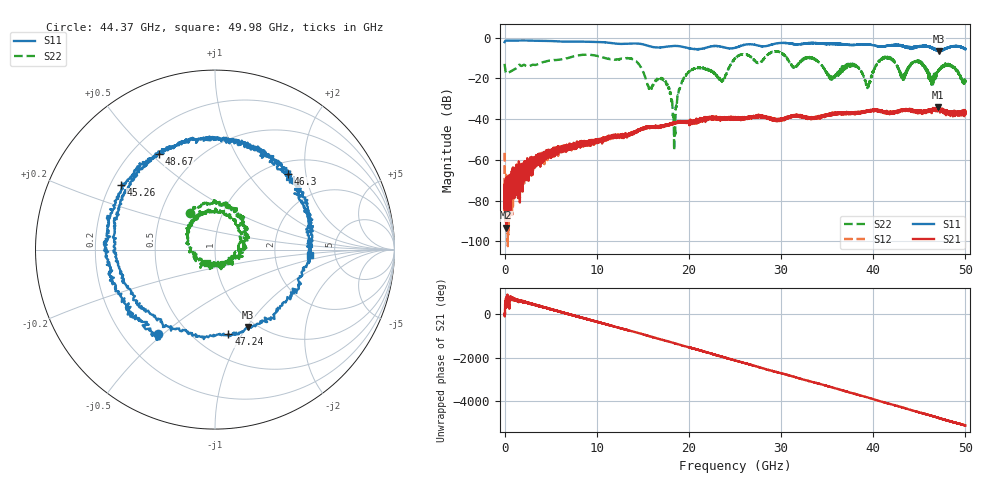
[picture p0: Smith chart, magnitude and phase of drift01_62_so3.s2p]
!Created with skrf (http://scikit-rf.org).
# Hz S RI R 50.0
!freq ReS11 ImS11 ReS21 ImS21 ReS12 ImS12 ReS22 ImS22
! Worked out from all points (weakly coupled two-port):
!   10001 points, 300 kHz to 50 GHz, reference 50 ohm
!   highest |S21| = -34.20 dB at 47.01 GHz (marker M1); lowest = -93.3 dB at 170.3 MHz (marker M2)
!   lowest |S11| = -6.6 dB at 47.14 GHz (marker M3), VSWR 2.77, Z = 45.8 - j50.6 ohm
!   |S11| at or under -10 dB: nowhere
!   |S22| runs from -55.3 to -6.7 dB; largest |S21 - S12| = 0.0038
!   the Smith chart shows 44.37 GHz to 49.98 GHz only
!   S11 on the Smith chart (normalised r, x): 44.37 GHz: 0.35, -0.48; 45.26 GHz: 0.25, +0.29; 46.3 GHz: 1.24, +1.59; 47.24 GHz: 0.72, -0.88; 48.67 GHz: 0.31, +0.53; 49.98 GHz: 3.24, -0.29
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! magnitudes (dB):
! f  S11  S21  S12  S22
! 300 kHz  -2.2  -78.7  -56.5  -12.8
! 170.3 MHz  -1.5  -93.3  -75.7  -17.4
! 8.335 GHz  -1.9  -50.7  -51.7  -8.5
! 16.67 GHz  -4.8  -43.5  -44.0  -19.9
! 17.74 GHz  -4.3  -43.0  -42.6  -24.3
! 18.45 GHz  -4.0  -42.3  -41.9  -43.9
! 19.95 GHz  -5.1  -41.3  -41.4  -17.0
! 23.63 GHz  -4.5  -40.0  -39.6  -20.7
! 25 GHz  -5.0  -39.5  -39.8  -10.3
! 33.34 GHz  -2.6  -39.3  -39.0  -10.1
! 39.43 GHz  -3.3  -35.9  -36.1  -23.8
! 41.67 GHz  -3.9  -36.5  -36.7  -9.8
! 43.22 GHz  -4.0  -35.8  -35.8  -19.6
! 44.37 GHz  -4.9  -36.2  -36.2  -12.2
! 45.26 GHz  -4.0  -36.1  -36.4  -12.7
! 46.3 GHz  -4.7  -35.4  -35.7  -20.7
! 47.01 GHz  -6.2  -34.2  -35.5  -17.0
! 47.14 GHz  -6.6  -35.3  -34.9  -16.1
! 47.24 GHz  -6.4  -36.2  -35.6  -15.0
! 48.67 GHz  -4.1  -37.0  -36.6  -14.2
! 49.98 GHz  -5.5  -37.9  -36.1  -21.3
! 50 GHz  -5.5  -36.7  -37.3  -22.1
